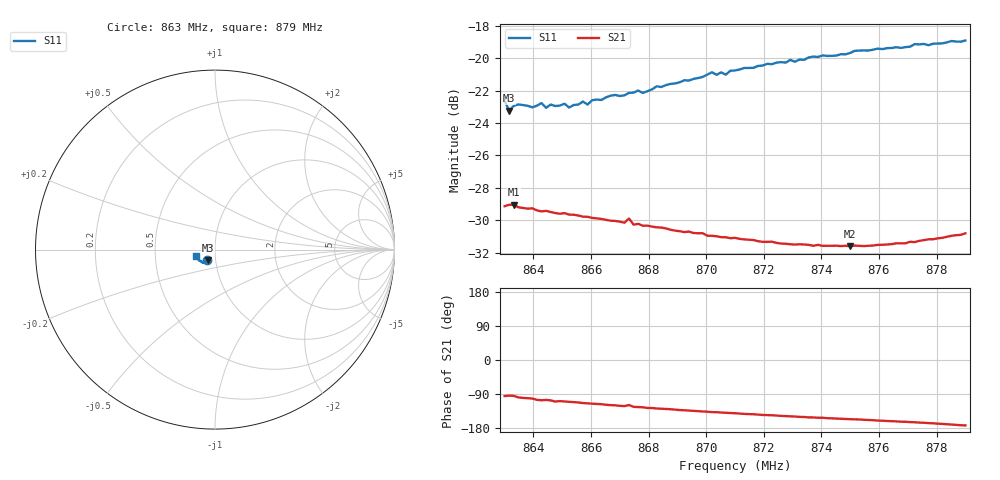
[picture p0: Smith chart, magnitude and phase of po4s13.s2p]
# HZ S RI R 50
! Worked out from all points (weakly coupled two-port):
!   101 points, 863 MHz to 879 MHz, reference 50 ohm
!   highest |S21| = -29.04 dB at 863.32 MHz (marker M1); lowest = -31.6 dB at 875 MHz (marker M2)
!   lowest |S11| = -23.2 dB at 863.16 MHz (marker M3), VSWR 1.15, Z = 46.1 - j5.33 ohm
!   |S11| at or under -10 dB: start of sweep to end of sweep
!   S12 and S22 are empty: the file has one direction only
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8.63e8  -0.0423 -0.0606  -0.0031 -0.0348  0 0  0 0
8.6316e8  -0.0378 -0.0576  -0.00236 -0.0352  0 0  0 0
8.6332e8  -0.0383 -0.0601  -0.00289 -0.0352  0 0  0 0
8.6396e8  -0.0382 -0.0593  -0.00697 -0.0337  0 0  0 0
8.6428e8  -0.0381 -0.0619  -0.00945 -0.0323  0 0  0 0
8.6444e8  -0.0377 -0.0593  -0.00893 -0.0326  0 0  0 0
8.6508e8  -0.0364 -0.0625  -0.0111 -0.0314  0 0  0 0
8.6524e8  -0.0358 -0.0607  -0.0115 -0.0309  0 0  0 0
8.6572e8  -0.0361 -0.064  -0.013 -0.0297  0 0  0 0
8.6588e8  -0.0358 -0.0624  -0.0134 -0.0295  0 0  0 0
8.6604e8  -0.0376 -0.0639  -0.0137 -0.0291  0 0  0 0
8.6716e8  -0.038 -0.0667  -0.0163 -0.0264  0 0  0 0
8.6732e8  -0.0385 -0.068  -0.0155 -0.028  0 0  0 0
8.6748e8  -0.0382 -0.0684  -0.017 -0.0255  0 0  0 0
8.6844e8  -0.0415 -0.0701  -0.0187 -0.0235  0 0  0 0
8.702e8  -0.0512 -0.0746  -0.0209 -0.0191  0 0  0 0
8.7068e8  -0.0521 -0.0721  -0.0212 -0.0183  0 0  0 0
8.71e8  -0.0555 -0.0729  -0.0215 -0.0178  0 0  0 0
8.7372e8  -0.0736 -0.0695  -0.0232 -0.0126  0 0  0 0
8.75e8  -0.0818 -0.0639  -0.024 -0.0106  0 0  0 0
8.7644e8  -0.0919 -0.0558  -0.0253 -0.00847  0 0  0 0
8.79e8  -0.1077 -0.0358  -0.0286 -0.0037  0 0  0 0
